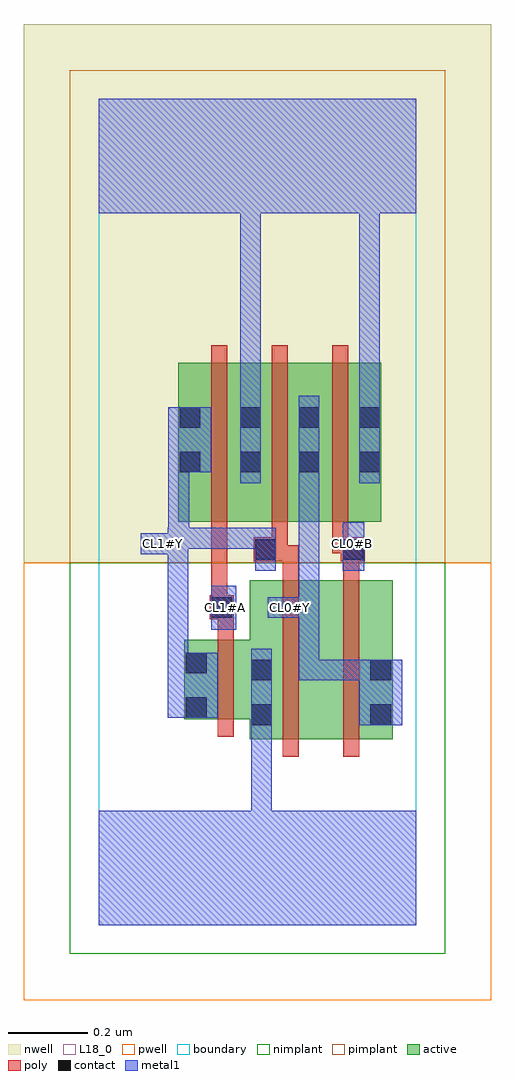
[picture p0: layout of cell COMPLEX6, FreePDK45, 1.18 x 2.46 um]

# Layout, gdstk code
import gdstk
lib = gdstk.Library(unit=1e-6, precision=1e-09)
def R(c, l, rs):  # rectangles x0, y0, x1, y1
    for r in rs: c.add(gdstk.rectangle(r[:2], r[2:], *l))
def A(c, l, x, y, w, h, nx, ny, dx, dy):  # array of equal rectangles
    R(c, l, [(x+i*dx, y+j*dy, x+i*dx+w, y+j*dy+h) for i in range(nx) for j in range(ny)])
active = (1, 0)
pwell = (2, 0)
nwell = (3, 0)
nimplant = (4, 0)
pimplant = (5, 0)
poly = (9, 0)
contact = (10, 0)
metal1 = (11, 0)
L18_0 = (18, 0)
boundary = (235, 0)

complex6 = lib.new_cell('COMPLEX6')
R(complex6, active, [(0.38,0.468,0.56,0.868), (0.56,0.468,0.74,0.868), (0.68,0.468,0.74,0.868), (0.38,0.5,0.44,0.718), (0.216,0.518,0.44,0.718), (0.216,0.518,0.276,0.718), (0.2,1.016,0.26,1.416), (0.2,1.016,0.412,1.416), (0.352,1.016,0.412,1.356), (0.352,1.016,0.56,1.416), (0.5,1.016,0.56,1.416), (0.5,1.016,0.712,1.416), (0.652,1.016,0.712,1.356)])
R(complex6, pwell, [(-0.188,-0.188,0.988,0.912)])
R(complex6, nwell, [(-0.188,0.912,0.988,2.268)])
R(complex6, nimplant, [(-0.072,-0.072,0.872,0.912)])
R(complex6, pimplant, [(-0.072,0.912,0.872,2.152)])
A(complex6, poly, 0.284, 0.972, 0.04, 0.488, 3, 1, 0.152, 0)
R(complex6, poly, [(0.464,0.424,0.504,0.912), (0.616,0.424,0.656,0.912), (0.3,0.474,0.34,0.762), (0.3,0.722,0.34,0.81), (0.28,0.77,0.34,0.83), (0.284,0.79,0.324,0.83), (0.284,0.79,0.324,0.83), (0.284,0.79,0.324,1.012), (0.464,0.872,0.504,0.956), (0.616,0.872,0.656,0.956), (0.39,0.916,0.476,0.976), (0.436,0.916,0.476,0.956), (0.436,0.916,0.504,0.956), (0.61,0.916,0.67,0.976), (0.436,0.936,0.476,1.012), (0.588,0.936,0.628,1.012), (0.588,0.936,0.65,0.976), (0.61,0.936,0.65,0.976)])
R(complex6, contact, [(0.384,0.504,0.436,0.556), (0.684,0.504,0.736,0.556), (0.22,0.522,0.272,0.574), (0.384,0.616,0.436,0.668), (0.684,0.616,0.736,0.668), (0.22,0.634,0.272,0.686), (0.284,0.774,0.336,0.826), (0.394,0.92,0.446,0.972), (0.614,0.92,0.666,0.972), (0.204,1.14,0.256,1.192), (0.356,1.14,0.408,1.192), (0.504,1.14,0.556,1.192), (0.656,1.14,0.708,1.192), (0.204,1.252,0.256,1.304), (0.356,1.252,0.408,1.304), (0.504,1.252,0.556,1.304), (0.656,1.252,0.708,1.304)])
R(complex6, metal1, [(0,0,0.8,0.288), (0.384,0.236,0.436,0.288), (0.384,0.236,0.436,0.288), (0.384,0.236,0.436,0.528), (0.384,0.476,0.436,0.696), (0.656,0.504,0.764,0.668), (0.174,0.522,0.3,0.686), (0.504,0.616,0.556,0.668), (0.504,0.616,0.556,0.668), (0.504,0.616,0.556,0.668), (0.504,0.616,0.708,0.668), (0.504,0.616,0.556,0.826), (0.174,0.634,0.226,0.986), (0.284,0.744,0.346,0.854), (0.426,0.774,0.556,0.826), (0.504,0.774,0.556,1.164), (0.394,0.892,0.446,1), (0.614,0.892,0.668,1.014), (0.106,0.934,0.226,0.986), (0.174,0.934,0.226,1), (0.174,0.948,0.228,1), (0.176,0.948,0.228,1), (0.176,0.948,0.228,1), (0.176,0.948,0.338,1), (0.176,0.948,0.228,1.192), (0.286,0.948,0.338,1), (0.286,0.948,0.446,1), (0.356,1.112,0.408,1.332), (0.504,1.112,0.556,1.164), (0.504,1.112,0.556,1.164), (0.504,1.112,0.556,1.332), (0.656,1.112,0.708,1.332), (0.176,1.14,0.284,1.304), (0.356,1.28,0.408,1.844), (0.656,1.28,0.708,1.332), (0.656,1.28,0.708,1.332), (0.656,1.28,0.708,1.332), (0.656,1.28,0.708,1.332), (0.656,1.28,0.708,1.332), (0.656,1.28,0.708,1.332), (0.656,1.28,0.708,1.332), (0.656,1.28,0.708,1.332), (0.656,1.28,0.708,1.844), (0,1.792,0.8,2.08), (0.356,1.792,0.408,1.844), (0.356,1.792,0.408,1.844), (0.356,1.792,0.408,1.844), (0.356,1.792,0.408,1.844), (0.356,1.792,0.408,1.844), (0.356,1.792,0.408,1.844), (0.356,1.792,0.408,1.844), (0.356,1.792,0.408,1.844)])
R(complex6, L18_0, [(0,0,0.8,0.288), (0.384,0.236,0.436,0.288), (0.384,0.236,0.436,0.288), (0.384,0.236,0.436,0.528), (0.384,0.476,0.436,0.696), (0.656,0.504,0.764,0.668), (0.174,0.522,0.3,0.686), (0.504,0.616,0.556,0.668), (0.504,0.616,0.556,0.668), (0.504,0.616,0.556,0.668), (0.504,0.616,0.556,0.826), (0.504,0.616,0.708,0.668), (0.174,0.634,0.226,0.986), (0.284,0.744,0.346,0.854), (0.294,0.774,0.346,0.826), (0.426,0.774,0.556,0.826), (0.454,0.774,0.506,0.826), (0.504,0.774,0.556,1.164), (0.394,0.892,0.446,1), (0.614,0.892,0.668,1.014), (0.106,0.934,0.226,0.986), (0.134,0.934,0.186,0.986), (0.174,0.934,0.226,1), (0.614,0.934,0.666,0.986), (0.174,0.948,0.228,1), (0.176,0.948,0.228,1.192), (0.176,0.948,0.228,1), (0.176,0.948,0.228,1), (0.176,0.948,0.338,1), (0.286,0.948,0.338,1), (0.286,0.948,0.446,1), (0.356,1.112,0.408,1.332), (0.504,1.112,0.556,1.164), (0.504,1.112,0.556,1.164), (0.504,1.112,0.556,1.332), (0.656,1.112,0.708,1.332), (0.176,1.14,0.284,1.304), (0.356,1.28,0.408,1.844), (0.656,1.28,0.708,1.332), (0.656,1.28,0.708,1.332), (0.656,1.28,0.708,1.332), (0.656,1.28,0.708,1.332), (0.656,1.28,0.708,1.332), (0.656,1.28,0.708,1.332), (0.656,1.28,0.708,1.332), (0.656,1.28,0.708,1.332), (0.656,1.28,0.708,1.844), (0,1.792,0.8,2.08), (0.356,1.792,0.408,1.844), (0.356,1.792,0.408,1.844), (0.356,1.792,0.408,1.844), (0.356,1.792,0.408,1.844), (0.356,1.792,0.408,1.844), (0.356,1.792,0.408,1.844), (0.356,1.792,0.408,1.844), (0.356,1.792,0.408,1.844)])
R(complex6, boundary, [(0,0,0.8,2.08)])
complex6.add(gdstk.Label('CL0#B', (0.64,0.96), layer=11, texttype=0))
complex6.add(gdstk.Label('CL0#Y', (0.48,0.8), layer=11, texttype=0))
complex6.add(gdstk.Label('CL1#A', (0.32,0.8), layer=11, texttype=0))
complex6.add(gdstk.Label('CL1#Y', (0.16,0.96), layer=11, texttype=0))

lib.write_gds('COMPLEX6.gds')
